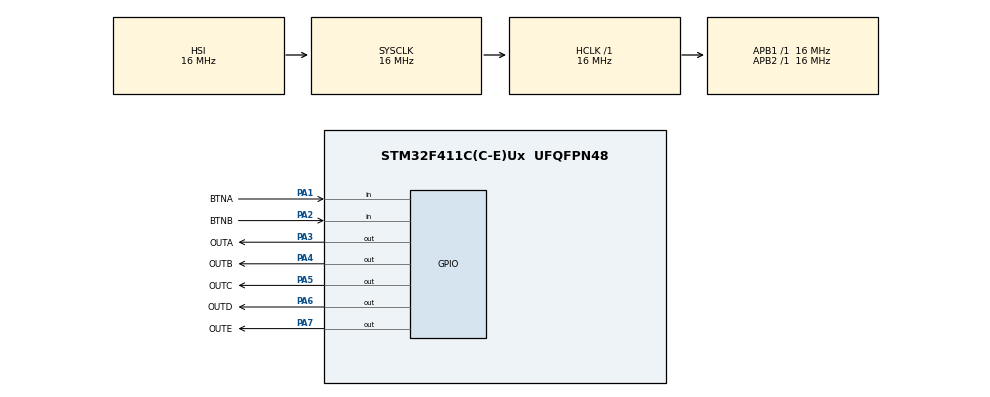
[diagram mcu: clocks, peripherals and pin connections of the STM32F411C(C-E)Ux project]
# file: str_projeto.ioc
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Mcu.Family=STM32F4
Mcu.Name=STM32F411C(C-E)Ux
Mcu.Package=UFQFPN48
NVIC.PriorityGroup=NVIC_PRIORITYGROUP_4
PA1.GPIO_Label=BTNA
PA1.Signal=GPIO_Input
PA2.GPIO_Label=BTNB
PA2.Signal=GPIO_Input
PA3.GPIO_Label=OUTA
PA3.Signal=GPIO_Output
PA4.GPIO_Label=OUTB
PA4.Signal=GPIO_Output
PA5.GPIO_Label=OUTC
PA5.Signal=GPIO_Output
PA6.GPIO_Label=OUTD
PA6.Signal=GPIO_Output
PA7.GPIO_Label=OUTE
PA7.Signal=GPIO_Output
ProjectManager.HeapSize=0x200
ProjectManager.StackSize=0x400
ProjectManager.TargetToolchain=STM32CubeIDE
RCC.AHBFreq_Value=16000000
RCC.APB1Freq_Value=16000000
RCC.APB2Freq_Value=16000000
RCC.CortexFreq_Value=16000000
RCC.HSE_VALUE=25000000
RCC.HSI_VALUE=16000000
RCC.RCC_RTC_Clock_Source=RCC_RTCCLKSOURCE_LSE
RCC.SYSCLKFreq_VALUE=16000000
RCC.VCOOutputFreq_Value=192000000
board=custom

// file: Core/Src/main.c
/* USER CODE BEGIN Header */
/**
 ******************************************************************************
 * @file           : main.c
 * @brief          : Main program body
 ******************************************************************************
 * @attention
 *
 * Copyright (c) 2023 STMicroelectronics.
 * All rights reserved.
 *
 * This software is licensed under terms that can be found in the LICENSE file
 * in the root directory of this software component.
 * If no LICENSE file comes with this software, it is provided AS-IS.
 *
 ******************************************************************************
 */
/* USER CODE END Header */
#include "main.h"

void SystemClock_Config(void);
static void MX_GPIO_Init(void);
/* USER CODE BEGIN PFP */

extern void initialise_monitor_handles(void);
/* USER CODE END PFP */

/* USER CODE BEGIN 0 */
/* Tarefas Periódicas */
TaskHandle_t taskTemperHandle = NULL;
TaskHandle_t taskPresenHandle = NULL;
TaskHandle_t taskGerLuzHandle = NULL;
TaskHandle_t taskMonSegHandle = NULL;
TaskHandle_t taskNetMsgHandle = NULL;

/* Tarefas Aperiódicas */
TaskHandle_t taskLuzPreHandle = NULL;
TaskHandle_t taskLigAlaHandle = NULL;

/* Semáforos */
SemaphoreHandle_t netMutex;
/* USER CODE END 0 */

int main(void)
{

	/* MCU Configuration--------------------------------------------------------*/

	/* Reset of all peripherals, Initializes the Flash interface and the Systick. */
	HAL_Init();

	/* Configure the system clock */
	SystemClock_Config();

	/* Initialize all configured peripherals */
	MX_GPIO_Init();
	/* USER CODE BEGIN 2 */
	initRandomValues();
	initialise_monitor_handles();

	/*
  xTaskCreate(ledToggle, "taskDebug",
  		  configMINIMAL_STACK_SIZE,
  		  (void*) NULL,
		  tskIDLE_PRIORITY + 2UL,
		  NULL);
	 */
	/* Tarefas Periódicas */
	xTaskCreate(lerTemperatura, "taskTemper",
			configMINIMAL_STACK_SIZE,
			(void*) NULL,
			tskIDLE_PRIORITY + 1UL,
			&taskTemperHandle);
	xTaskCreate(monitorarPresenca, "taskPresen",
			configMINIMAL_STACK_SIZE,
			(void*) NULL,
			tskIDLE_PRIORITY + 3UL,
			&taskPresenHandle);
	xTaskCreate(gerenciarLuzes, "taskGerLuz",
			configMINIMAL_STACK_SIZE,
			(void*) NULL,
			tskIDLE_PRIORITY + 2UL,
			&taskGerLuzHandle);
	xTaskCreate(monitorarSeguranca, "taskMonSeg",
			configMINIMAL_STACK_SIZE,
			(void*) NULL,
			tskIDLE_PRIORITY + 4UL,
			&taskMonSegHandle);
	xTaskCreate(enviarDadosViaRede, "taskNetMsg",
				configMINIMAL_STACK_SIZE,
				(void*) NULL,
				tskIDLE_PRIORITY + 1UL,
				&taskNetMsgHandle);

	/* Tarefas Aperiódicas */
	xTaskCreate(ligarLuzPresenca, "taskLuzPre",
			configMINIMAL_STACK_SIZE,
			(void*) NULL,
			tskIDLE_PRIORITY + 3UL,
			&taskLuzPreHandle);
	xTaskCreate(ligarAlarme, "taskLigAla",
			configMINIMAL_STACK_SIZE,
			(void*) NULL,
			tskIDLE_PRIORITY + 4UL,
			&taskLigAlaHandle);

	netMutex = xSemaphoreCreateMutex();

	vTaskStartScheduler();

	/* USER CODE END 2 */

	/* Infinite loop */
	while (1)
	{

	}
}

void SystemClock_Config(void)
{
	RCC_OscInitTypeDef RCC_OscInitStruct = {0};
	RCC_ClkInitTypeDef RCC_ClkInitStruct = {0};

	/** Configure the main internal regulator output voltage
	 */
	__HAL_RCC_PWR_CLK_ENABLE();
	__HAL_PWR_VOLTAGESCALING_CONFIG(PWR_REGULATOR_VOLTAGE_SCALE1);

	/** Initializes the RCC Oscillators according to the specified parameters
	 * in the RCC_OscInitTypeDef structure.
	 */
	RCC_OscInitStruct.OscillatorType = RCC_OSCILLATORTYPE_HSI;
	RCC_OscInitStruct.HSIState = RCC_HSI_ON;
	RCC_OscInitStruct.HSICalibrationValue = RCC_HSICALIBRATION_DEFAULT;
	RCC_OscInitStruct.PLL.PLLState = RCC_PLL_NONE;
	if (HAL_RCC_OscConfig(&RCC_OscInitStruct) != HAL_OK)
	{
		Error_Handler();
	}

	/** Initializes the CPU, AHB and APB buses clocks
	 */
	RCC_ClkInitStruct.ClockType = RCC_CLOCKTYPE_HCLK|RCC_CLOCKTYPE_SYSCLK
			|RCC_CLOCKTYPE_PCLK1|RCC_CLOCKTYPE_PCLK2;
	RCC_ClkInitStruct.SYSCLKSource = RCC_SYSCLKSOURCE_HSI;
	RCC_ClkInitStruct.AHBCLKDivider = RCC_SYSCLK_DIV1;
	RCC_ClkInitStruct.APB1CLKDivider = RCC_HCLK_DIV1;
	RCC_ClkInitStruct.APB2CLKDivider = RCC_HCLK_DIV1;

	if (HAL_RCC_ClockConfig(&RCC_ClkInitStruct, FLASH_LATENCY_0) != HAL_OK)
	{
		Error_Handler();
	}
}

static void MX_GPIO_Init(void)
{
	GPIO_InitTypeDef GPIO_InitStruct = {0};

	/* GPIO Ports Clock Enable */
	__HAL_RCC_GPIOA_CLK_ENABLE();

	/*Configure GPIO pin Output Level */
	HAL_GPIO_WritePin(GPIOA, OUTA_Pin|OUTB_Pin|OUTC_Pin|OUTD_Pin
			|OUTE_Pin, GPIO_PIN_RESET);

	/*Configure GPIO pins : BTNA_Pin BTNB_Pin */
	GPIO_InitStruct.Pin = BTNA_Pin|BTNB_Pin;
	GPIO_InitStruct.Mode = GPIO_MODE_INPUT;
	GPIO_InitStruct.Pull = GPIO_NOPULL;
	HAL_GPIO_Init(GPIOA, &GPIO_InitStruct);

	/*Configure GPIO pins : OUTA_Pin OUTB_Pin OUTC_Pin OUTD_Pin
                           OUTE_Pin */
	GPIO_InitStruct.Pin = OUTA_Pin|OUTB_Pin|OUTC_Pin|OUTD_Pin
			|OUTE_Pin;
	GPIO_InitStruct.Mode = GPIO_MODE_OUTPUT_PP;
	GPIO_InitStruct.Pull = GPIO_NOPULL;
	GPIO_InitStruct.Speed = GPIO_SPEED_FREQ_LOW;
	HAL_GPIO_Init(GPIOA, &GPIO_InitStruct);

}

void Error_Handler(void)
{
	__disable_irq();
	while (1)
	{
	}
}
